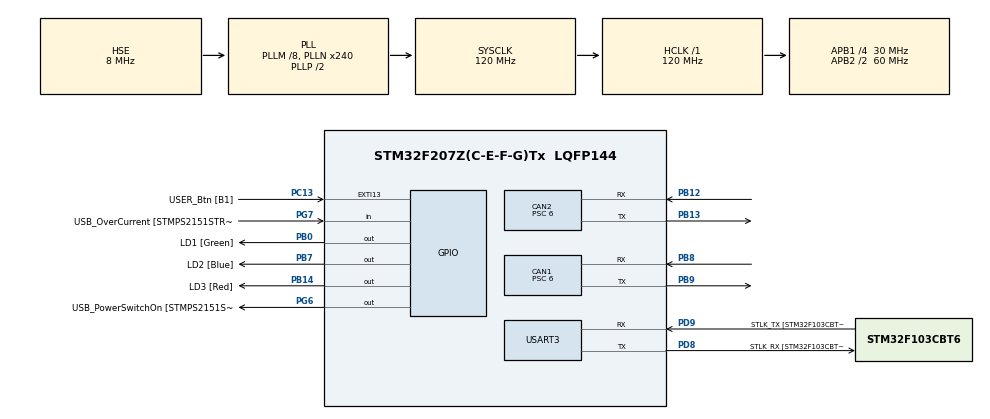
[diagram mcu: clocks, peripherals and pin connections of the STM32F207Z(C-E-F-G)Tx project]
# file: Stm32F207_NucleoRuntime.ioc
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CAN1.BS1=CAN_BS1_5TQ
CAN1.BS2=CAN_BS2_4TQ
CAN1.CalculateBaudRate=500000
CAN1.CalculateTimeBit=2000
CAN1.CalculateTimeQuantum=200.0
CAN1.NART=ENABLE
CAN1.Prescaler=6
CAN1.TXFP=ENABLE
CAN2.BS1=CAN_BS1_4TQ
CAN2.BS2=CAN_BS2_5TQ
CAN2.CalculateBaudRate=500000
CAN2.CalculateTimeBit=2000
CAN2.CalculateTimeQuantum=200.0
CAN2.NART=ENABLE
CAN2.Prescaler=6
CAN2.TXFP=ENABLE
FREERTOS.HEAP_NUMBER=1
FREERTOS.INCLUDE_vTaskDelete=1
FREERTOS.Queues01=appCan1RxQueue,128,CAN_Msg_t,0,Dynamic,NULL,NULL;appCan2RxQueue,128,CAN_Msg_t,0,Dynamic,NULL,NULL;appCan1TxQueue,128,CAN_Msg_t,0,Dynamic,NULL,NULL;appCan2TxQueue,128,CAN_Msg_t,0,Dynamic,NULL,NULL;xcpCanRxQueue,128,CAN_Msg_t,0,Dynamic,NULL,NULL
FREERTOS.Tasks01=can2_TxTask,40,512,StartCan2_TxTask,Default,NULL,Dynamic,NULL,NULL;can1_TxTask,40,512,StartCan1_TxTask,Default,NULL,Dynamic,NULL,NULL;appTask,24,1024,StartAppTask,Default,NULL,Dynamic,NULL,NULL;canXcpTask,24,1024,StartCanXcpTask,Default,NULL,Dynamic,NULL,NULL
FREERTOS.configTOTAL_HEAP_SIZE=65536
FREERTOS.configUSE_NEWLIB_REENTRANT=1
Mcu.Family=STM32F2
Mcu.Name=STM32F207Z(C-E-F-G)Tx
Mcu.Package=LQFP144
NVIC.CAN1_RX0_IRQn=true\:5\:0\:false\:false\:true\:true\:true\:true\:true
NVIC.CAN1_RX1_IRQn=true\:5\:0\:false\:false\:true\:true\:true\:true\:true
NVIC.CAN1_SCE_IRQn=true\:5\:0\:false\:false\:true\:true\:true\:true\:true
NVIC.CAN1_TX_IRQn=true\:5\:0\:false\:false\:true\:true\:true\:true\:true
NVIC.CAN2_RX0_IRQn=true\:5\:0\:false\:false\:true\:true\:true\:true\:true
NVIC.CAN2_RX1_IRQn=true\:5\:0\:false\:false\:true\:true\:true\:true\:true
NVIC.CAN2_SCE_IRQn=true\:5\:0\:false\:false\:true\:true\:true\:true\:true
NVIC.CAN2_TX_IRQn=true\:5\:0\:false\:false\:true\:true\:true\:true\:true
NVIC.PriorityGroup=NVIC_PRIORITYGROUP_4
NVIC.TIM6_DAC_IRQn=true\:15\:0\:false\:false\:true\:false\:false\:true\:true
NVIC.TimeBase=TIM6_DAC_IRQn
NVIC.TimeBaseIP=TIM6
NVIC.USART3_IRQn=true\:5\:0\:false\:false\:true\:true\:true\:true\:true
PA13.GPIO_Label=TMS
PA13.Mode=Serial_Wire
PA13.Signal=SYS_JTMS-SWDIO
PA14.GPIO_Label=TCK
PA14.Mode=Serial_Wire
PA14.Signal=SYS_JTCK-SWCLK
PB0.GPIO_Label=LD1 [Green]
PB0.Signal=GPIO_Output
PB12.Mode=CAN_Activate
PB12.Signal=CAN2_RX
PB13.Mode=CAN_Activate
PB13.Signal=CAN2_TX
PB14.GPIO_Label=LD3 [Red]
PB14.Signal=GPIO_Output
PB7.GPIO_Label=LD2 [Blue]
PB7.Signal=GPIO_Output
PB8.Mode=CAN_Activate
PB8.Signal=CAN1_RX
PB9.Mode=CAN_Activate
PB9.Signal=CAN1_TX
PC13.GPIO_Label=USER_Btn [B1]
PC13.Signal=GPXTI13
PC14-OSC32_IN.Mode=LSE-External-Oscillator
PC14-OSC32_IN.Signal=RCC_OSC32_IN
PC15-OSC32_OUT.Mode=LSE-External-Oscillator
PC15-OSC32_OUT.Signal=RCC_OSC32_OUT
PD8.GPIO_Label=STLK_RX [STM32F103CBT6_PA2]
PD8.Mode=Asynchronous
PD8.Signal=USART3_TX
PD9.GPIO_Label=STLK_TX [STM32F103CBT6_PA3]
PD9.Mode=Asynchronous
PD9.Signal=USART3_RX
PG6.GPIO_Label=USB_PowerSwitchOn [STMPS2151STR_EN]
PG6.Signal=GPIO_Output
PG7.GPIO_Label=USB_OverCurrent [STMPS2151STR_FAULT]
PG7.Signal=GPIO_Input
PH0-OSC_IN.GPIO_Label=MCO [STM32F103CBT6_PA8]
PH0-OSC_IN.Mode=HSE-External-Clock-Source
PH0-OSC_IN.Signal=RCC_OSC_IN
PH1-OSC_OUT.Mode=HSE-External-Clock-Source
PH1-OSC_OUT.Signal=RCC_OSC_OUT
ProjectManager.HeapSize=0x200
ProjectManager.StackSize=0x400
ProjectManager.TargetToolchain=CMake
RCC.48MHZClocksFreq_Value=48000000
RCC.AHBFreq_Value=120000000
RCC.APB1CLKDivider=RCC_HCLK_DIV4
RCC.APB1Freq_Value=30000000
RCC.APB1TimFreq_Value=60000000
RCC.APB2CLKDivider=RCC_HCLK_DIV2
RCC.APB2Freq_Value=60000000
RCC.APB2TimFreq_Value=120000000
RCC.CortexFreq_Value=120000000
RCC.HCLKFreq_Value=120000000
RCC.HSE_VALUE=8000000
RCC.HSI_VALUE=16000000
RCC.PLLM=8
RCC.PLLMUL=RCC_PLL_MUL9
RCC.PLLN=240
RCC.PLLQ=5
RCC.PLLSourceVirtual=RCC_PLLSOURCE_HSE
RCC.PRESCALERUSB=RCC_USBCLKSOURCE_PLL_DIV1_5
RCC.RCC_RTC_Clock_Source=RCC_RTCCLKSOURCE_LSE
RCC.RCC_RTC_Clock_SourceVirtual=RCC_RTCCLKSOURCE_LSE
RCC.SYSCLKFreq_VALUE=120000000
RCC.SYSCLKSource=RCC_SYSCLKSOURCE_PLLCLK
RCC.SYSCLKSourceVirtual=RCC_SYSCLKSOURCE_PLLCLK
RCC.USBFreq_Value=48000000
RCC.VCOOutputFreq_Value=240000000
USART3.VirtualMode=VM_ASYNC
VP_FREERTOS_VS_CMSIS_V2.Mode=CMSIS_V2
VP_SYS_VS_tim6.Mode=TIM6
board=NUCLEO-F207ZG

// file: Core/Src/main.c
/* USER CODE BEGIN Header */
/**
  ******************************************************************************
  * @file           : main.c
  * @brief          : Main program body
  ******************************************************************************
  * @attention
  *
  * Copyright (c) 2025 STMicroelectronics.
  * All rights reserved.
  *
  * This software is licensed under terms that can be found in the LICENSE file
  * in the root directory of this software component.
  * If no LICENSE file comes with this software, it is provided AS-IS.
  *
  ******************************************************************************
  */
/* USER CODE END Header */
#include "main.h"
#include "cmsis_os.h"
#include "can.h"
#include "usart.h"
#include "gpio.h"

void SystemClock_Config(void);
void MX_FREERTOS_Init(void);
/* USER CODE BEGIN PFP */

void CAN1_Filter_AcceptAll(void);
void CAN2_Filter_AcceptAll(void);
/* USER CODE END PFP */

int main(void)
{

  /* MCU Configuration--------------------------------------------------------*/

  /* Reset of all peripherals, Initializes the Flash interface and the Systick. */
  HAL_Init();

  /* Configure the system clock */
  SystemClock_Config();

  /* Initialize all configured peripherals */
  MX_GPIO_Init();
  MX_USART3_UART_Init();
  MX_CAN1_Init();
  MX_CAN2_Init();
  /* USER CODE BEGIN 2 */
  CAN1_Filter_AcceptAll();
  CAN2_Filter_AcceptAll();

  if (HAL_CAN_Start(&hcan1) != HAL_OK || HAL_CAN_Start(&hcan2) != HAL_OK) {
      Error_Handler();
  }

  HAL_CAN_ActivateNotification(&hcan1, CAN_IT_RX_FIFO0_MSG_PENDING | CAN_IT_RX_FIFO1_MSG_PENDING | CAN_IT_TX_MAILBOX_EMPTY | CAN_IT_ERROR);
  HAL_CAN_ActivateNotification(&hcan2, CAN_IT_RX_FIFO0_MSG_PENDING | CAN_IT_RX_FIFO1_MSG_PENDING | CAN_IT_TX_MAILBOX_EMPTY | CAN_IT_ERROR);

  simulink_app_initialize();
  /* USER CODE END 2 */

  /* Init scheduler */
  osKernelInitialize();

  /* Call init function for freertos objects (in cmsis_os2.c) */
  MX_FREERTOS_Init();

  /* Start scheduler */
  osKernelStart();

  /* We should never get here as control is now taken by the scheduler */

  /* Infinite loop */
  while (1)
  {

  }
}

void SystemClock_Config(void)
{
  RCC_OscInitTypeDef RCC_OscInitStruct = {0};
  RCC_ClkInitTypeDef RCC_ClkInitStruct = {0};

  /** Initializes the RCC Oscillators according to the specified parameters
  * in the RCC_OscInitTypeDef structure.
  */
  RCC_OscInitStruct.OscillatorType = RCC_OSCILLATORTYPE_HSE;
  RCC_OscInitStruct.HSEState = RCC_HSE_BYPASS;
  RCC_OscInitStruct.PLL.PLLState = RCC_PLL_ON;
  RCC_OscInitStruct.PLL.PLLSource = RCC_PLLSOURCE_HSE;
  RCC_OscInitStruct.PLL.PLLM = 8;
  RCC_OscInitStruct.PLL.PLLN = 240;
  RCC_OscInitStruct.PLL.PLLP = RCC_PLLP_DIV2;
  RCC_OscInitStruct.PLL.PLLQ = 5;
  if (HAL_RCC_OscConfig(&RCC_OscInitStruct) != HAL_OK)
  {
    Error_Handler();
  }

  /** Initializes the CPU, AHB and APB buses clocks
  */
  RCC_ClkInitStruct.ClockType = RCC_CLOCKTYPE_HCLK|RCC_CLOCKTYPE_SYSCLK
                              |RCC_CLOCKTYPE_PCLK1|RCC_CLOCKTYPE_PCLK2;
  RCC_ClkInitStruct.SYSCLKSource = RCC_SYSCLKSOURCE_PLLCLK;
  RCC_ClkInitStruct.AHBCLKDivider = RCC_SYSCLK_DIV1;
  RCC_ClkInitStruct.APB1CLKDivider = RCC_HCLK_DIV4;
  RCC_ClkInitStruct.APB2CLKDivider = RCC_HCLK_DIV2;

  if (HAL_RCC_ClockConfig(&RCC_ClkInitStruct, FLASH_LATENCY_3) != HAL_OK)
  {
    Error_Handler();
  }
}

/* USER CODE BEGIN 4 */
void CAN1_Filter_AcceptAll(void) {
    CAN_FilterTypeDef canFilterConfig;

    // Фильтр для CAN1 FIFO0 (расширенные идентификаторы - ExtID)
    canFilterConfig.FilterBank = 0;
    canFilterConfig.FilterMode = CAN_FILTERMODE_IDMASK;
    canFilterConfig.FilterScale = CAN_FILTERSCALE_32BIT;
    // Для ExtID: бит IDE (bit 2) должен быть 1
    canFilterConfig.FilterIdHigh = 0x0000;
    canFilterConfig.FilterIdLow = 0x0004; // IDE bit set (0x4)
    canFilterConfig.FilterMaskIdHigh = 0x0000;
    canFilterConfig.FilterMaskIdLow = 0x0004; // Проверяем только бит IDE
    canFilterConfig.FilterFIFOAssignment = CAN_RX_FIFO0;
    canFilterConfig.FilterActivation = ENABLE;
    canFilterConfig.SlaveStartFilterBank = 14;  // Важно для CAN2!
    HAL_CAN_ConfigFilter(&hcan1, &canFilterConfig);

    // Фильтр для CAN1 FIFO1 (стандартные идентификаторы - StdID)
    canFilterConfig.FilterBank = 1;
    // Для StdID: бит IDE (bit 2) должен быть 0
    canFilterConfig.FilterIdHigh = 0x0000;
    canFilterConfig.FilterIdLow = 0x0000; // IDE bit clear (0x0)
    canFilterConfig.FilterMaskIdHigh = 0x0000;
    canFilterConfig.FilterMaskIdLow = 0x0004; // Проверяем только бит IDE
    canFilterConfig.FilterFIFOAssignment = CAN_RX_FIFO1;
    HAL_CAN_ConfigFilter(&hcan1, &canFilterConfig);
}

void CAN2_Filter_AcceptAll(void) {
    CAN_FilterTypeDef canFilterConfig;

    // Фильтр для CAN2 FIFO0 (банк 14)
    canFilterConfig.FilterBank = 14;  // Первый банк CAN2!
    canFilterConfig.FilterMode = CAN_FILTERMODE_IDMASK;
    canFilterConfig.FilterScale = CAN_FILTERSCALE_32BIT;
    canFilterConfig.FilterIdHigh = 0x0000;
    canFilterConfig.FilterIdLow = 0x0000;
    canFilterConfig.FilterMaskIdHigh = 0x0000;
    canFilterConfig.FilterMaskIdLow = 0x0000;
    canFilterConfig.FilterFIFOAssignment = CAN_RX_FIFO0;
    canFilterConfig.FilterActivation = ENABLE;
    canFilterConfig.SlaveStartFilterBank = 14;  // Для CAN2 не играет роли, но должно быть >=14
    HAL_CAN_ConfigFilter(&hcan2, &canFilterConfig);

    // Фильтр для CAN2 FIFO1 (банк 15)
    canFilterConfig.FilterBank = 15;
    canFilterConfig.FilterFIFOAssignment = CAN_RX_FIFO1;
    HAL_CAN_ConfigFilter(&hcan2, &canFilterConfig);
}
/* USER CODE END 4 */

void HAL_TIM_PeriodElapsedCallback(TIM_HandleTypeDef *htim)
{
  if (htim->Instance == TIM6) {
    HAL_IncTick();
  }
}

void Error_Handler(void)
{
  __disable_irq();
  while (1)
  {
  }
}

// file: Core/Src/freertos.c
/* USER CODE BEGIN Header */
/**
  ******************************************************************************
  * File Name          : freertos.c
  * Description        : Code for freertos applications
  ******************************************************************************
  * @attention
  *
  * Copyright (c) 2025 STMicroelectronics.
  * All rights reserved.
  *
  * This software is licensed under terms that can be found in the LICENSE file
  * in the root directory of this software component.
  * If no LICENSE file comes with this software, it is provided AS-IS.
  *
  ******************************************************************************
  */
/* USER CODE END Header */

#include "FreeRTOS.h"
#include "task.h"
#include "main.h"
#include "cmsis_os.h"

/* USER CODE BEGIN Includes */
#include "canMsgs.h"
#include "XcpBasic.h"
#include "XcpPort.h"

#include <string.h>
#include "can.h"

#include "arm_math.h"

//#include "simulink_app.h"
/* USER CODE END Includes */

/* USER CODE BEGIN PTD */
typedef struct {
    uint32_t txCount;
    uint32_t rxCount;
    uint32_t errorCount;
} CanStats;

/* USER CODE END PTD */

/* USER CODE BEGIN PD */
#define MS_TO_TICKS(ms)  ((osKernelGetTickFreq() * (ms)) / 1000)

/* USER CODE END PD */

/* USER CODE BEGIN Variables */
CanStats can1Stats;
CanStats can2Stats;

/* USER CODE END Variables */
/* Definitions for can2_TxTask */
osThreadId_t can2_TxTaskHandle;
const osThreadAttr_t can2_TxTask_attributes = {
  .name = "can2_TxTask",
  .stack_size = 512 * 4,
  .priority = (osPriority_t) osPriorityHigh,
};
/* Definitions for can1_TxTask */
osThreadId_t can1_TxTaskHandle;
const osThreadAttr_t can1_TxTask_attributes = {
  .name = "can1_TxTask",
  .stack_size = 512 * 4,
  .priority = (osPriority_t) osPriorityHigh,
};
/* Definitions for appTask */
osThreadId_t appTaskHandle;
const osThreadAttr_t appTask_attributes = {
  .name = "appTask",
  .stack_size = 1024 * 4,
  .priority = (osPriority_t) osPriorityNormal,
};
/* Definitions for canXcpTask */
osThreadId_t canXcpTaskHandle;
const osThreadAttr_t canXcpTask_attributes = {
  .name = "canXcpTask",
  .stack_size = 1024 * 4,
  .priority = (osPriority_t) osPriorityNormal,
};
/* Definitions for appCan1RxQueue */
osMessageQueueId_t appCan1RxQueueHandle;
const osMessageQueueAttr_t appCan1RxQueue_attributes = {
  .name = "appCan1RxQueue"
};
/* Definitions for appCan2RxQueue */
osMessageQueueId_t appCan2RxQueueHandle;
const osMessageQueueAttr_t appCan2RxQueue_attributes = {
  .name = "appCan2RxQueue"
};
/* Definitions for appCan1TxQueue */
osMessageQueueId_t appCan1TxQueueHandle;
const osMessageQueueAttr_t appCan1TxQueue_attributes = {
  .name = "appCan1TxQueue"
};
/* Definitions for appCan2TxQueue */
osMessageQueueId_t appCan2TxQueueHandle;
const osMessageQueueAttr_t appCan2TxQueue_attributes = {
  .name = "appCan2TxQueue"
};
/* Definitions for xcpCanRxQueue */
osMessageQueueId_t xcpCanRxQueueHandle;
const osMessageQueueAttr_t xcpCanRxQueue_attributes = {
  .name = "xcpCanRxQueue"
};

/* USER CODE BEGIN FunctionPrototypes */
HAL_StatusTypeDef CAN_SendMessage(CAN_HandleTypeDef *hcan, const CAN_Msg_t *msg);
void ProcessCanToQueue(CAN_HandleTypeDef *hcan, uint8_t fifo, osMessageQueueId_t queue);

/* USER CODE END FunctionPrototypes */

void StartCan2_TxTask(void *argument);
void StartCan1_TxTask(void *argument);
void StartAppTask(void *argument);
void StartCanXcpTask(void *argument);

void MX_FREERTOS_Init(void); /* (MISRA C 2004 rule 8.1) */

void MX_FREERTOS_Init(void) {

  /* Create the queue(s) */
  /* creation of appCan1RxQueue */
  appCan1RxQueueHandle = osMessageQueueNew (128, sizeof(CAN_Msg_t), &appCan1RxQueue_attributes);

  /* creation of appCan2RxQueue */
  appCan2RxQueueHandle = osMessageQueueNew (128, sizeof(CAN_Msg_t), &appCan2RxQueue_attributes);

  /* creation of appCan1TxQueue */
  appCan1TxQueueHandle = osMessageQueueNew (128, sizeof(CAN_Msg_t), &appCan1TxQueue_attributes);

  /* creation of appCan2TxQueue */
  appCan2TxQueueHandle = osMessageQueueNew (128, sizeof(CAN_Msg_t), &appCan2TxQueue_attributes);

  /* creation of xcpCanRxQueue */
  xcpCanRxQueueHandle = osMessageQueueNew (128, sizeof(CAN_Msg_t), &xcpCanRxQueue_attributes);

  /* Create the thread(s) */
  /* creation of can2_TxTask */
  can2_TxTaskHandle = osThreadNew(StartCan2_TxTask, NULL, &can2_TxTask_attributes);

  /* creation of can1_TxTask */
  can1_TxTaskHandle = osThreadNew(StartCan1_TxTask, NULL, &can1_TxTask_attributes);

  /* creation of appTask */
  appTaskHandle = osThreadNew(StartAppTask, NULL, &appTask_attributes);

  /* creation of canXcpTask */
  canXcpTaskHandle = osThreadNew(StartCanXcpTask, NULL, &canXcpTask_attributes);

}

void StartCan2_TxTask(void *argument)
{
  /* USER CODE BEGIN StartCan2_TxTask */
  CAN_Msg_t txMsg;
  CAN_TxHeaderTypeDef TxHeader;
  uint32_t TxMailbox;

  /* Infinite loop */
  for(;;)
  {
        // Обработка очереди APP (CAN2)
    if(osMessageQueueGet(appCan2TxQueueHandle, &txMsg, NULL, 0) == osOK)
    {
      CAN_SendMessage(&hcan2, &txMsg);
    }
    osDelay(1);
  }
  /* USER CODE END StartCan2_TxTask */
}

void StartCan1_TxTask(void *argument)
{
  /* USER CODE BEGIN StartCan1_TxTask */
  CAN_Msg_t txMsg;
  CAN_TxHeaderTypeDef TxHeader;
  uint32_t TxMailbox;

  /* Infinite loop */
  for(;;)
  {
    // Обработка очереди APP (CAN1)
    if(osMessageQueueGet(appCan1TxQueueHandle, &txMsg, NULL, 0) == osOK)
    {
      CAN_SendMessage(&hcan1, &txMsg);
    }
    osDelay(1);
  }
  /* USER CODE END StartCan1_TxTask */
}

void StartAppTask(void *argument)
{
  /* USER CODE BEGIN StartAppTask */
  // Константы времени
  const uint32_t interval_10ms = MS_TO_TICKS(10);    // 10 мс интервал
  const uint32_t interval_100ms = MS_TO_TICKS(100);  // 100 мс интервал
  const uint32_t interval_1000ms = MS_TO_TICKS(1000);// 1000 мс интервал

  // Параметры синусоидального сигнала RPM
  const float32_t RPM_MAX = 8031.875f;    // Максимальное значение RPM
  const float32_t WAVE_PERIOD_MS = 5000.0f; // Период волны 5 секунд
  float32_t phase = 0.0f;                 // Текущая фаза
  const float32_t PHASE_STEP = (2.0f * PI * 10.0f) / WAVE_PERIOD_MS; // Приращение фазы за 10 мс

  // Тайминги
  uint32_t tick = osKernelGetTickCount();
  uint32_t last_100ms_tick = tick;
  uint32_t last_1000ms_tick = tick;

  /* Infinite loop */
  for(;;)
  {
    /* Шаг функции Simulink */
    simulink_app_step();

    /* Жёсткая периодичность 10 мс */
    tick += interval_10ms;
    osDelayUntil(tick);
  }
  /* USER CODE END StartAppTask */
}

void StartCanXcpTask(void *argument)
{
  /* USER CODE BEGIN StartCanXcpTask */
  CAN_Msg_t rxMsg;
  const uint32_t interval10ms = MS_TO_TICKS(10);
  const uint32_t interval100ms = MS_TO_TICKS(100);
  uint32_t tick10ms = osKernelGetTickCount();
  uint32_t tick100ms = tick10ms;
  uint32_t messageCount = 0;
  const uint32_t maxMessagesPerCycle = 50; // Максимальное количество сообщений за цикл

  XcpInit();

  /* Infinite loop */
  for(;;)
  {
    // Обработка сообщений с ограничением количества
    messageCount = 0;
    while((osMessageQueueGet(xcpCanRxQueueHandle, &rxMsg, NULL, 0) == osOK) &&
          (messageCount < maxMessagesPerCycle))
    {
      XcpMessageHandler(&rxMsg);
      messageCount++;
    }

    // 10ms события
    XcpEvent(XcpEventChannel_10msEvent_1);

    // 100ms события (каждый 10-й вызов)
    if((tick10ms - tick100ms) >= interval100ms)
    {
      XcpEvent(XcpEventChannel_100msEvent_1);
      tick100ms = tick10ms;
    }

    tick10ms += interval10ms;
    osDelayUntil(tick10ms);
  }
  /* USER CODE END StartCanXcpTask */
}

/* USER CODE BEGIN Application */
/**
  * @brief Отправка CAN-сообщения с ожиданием свободного почтового ящика
  * @param hcan Указатель на структуру CAN_HandleTypeDef
  * @param msg Структура с данными сообщения (ID, Extended, Length, Data)
  * @param timeout_ms Таймаут ожидания свободного ящика в миллисекундах
  * @return
  */
HAL_StatusTypeDef CAN_SendMessage(CAN_HandleTypeDef *hcan, const CAN_Msg_t *msg)
{
    CAN_TxHeaderTypeDef TxHeader;

    // Настройка заголовка CAN сообщения
    TxHeader.IDE = msg->Extended ? CAN_ID_EXT : CAN_ID_STD;
    TxHeader.StdId = msg->Extended ? 0 : msg->ID;
    TxHeader.ExtId = msg->Extended ? msg->ID : 0;
    TxHeader.DLC = msg->Length;
    TxHeader.RTR = CAN_RTR_DATA;
    TxHeader.TransmitGlobalTime = DISABLE;

    // Ожидание свободного почтового ящика
    while (HAL_CAN_GetTxMailboxesFreeLevel(hcan) == 0)
    {
        osDelay(1);
    }

    // Отправка сообщения
    return HAL_CAN_AddTxMessage(hcan, &TxHeader, msg->Data, NULL);
}

// Общая функция для обработки CAN сообщений и помещения в очередь
void ProcessCanToQueue(CAN_HandleTypeDef *hcan, uint8_t fifo, osMessageQueueId_t queue)
{
    CAN_RxHeaderTypeDef rxHeader;
    uint8_t rxData[8];
    CAN_Msg_t canMsg;

    if (HAL_CAN_GetRxMessage(hcan, fifo, &rxHeader, rxData) == HAL_OK)
    {
        // Заполняем структуру CAN_Msg_t
        canMsg.Extended = (rxHeader.IDE == CAN_ID_EXT);
        canMsg.ID = canMsg.Extended ? rxHeader.ExtId : rxHeader.StdId;
        canMsg.Length = rxHeader.DLC;
        memcpy(canMsg.Data, rxData, 8);
        canMsg.Timestamp = HAL_GetTick();

        // Отправляем в очередь (без ожидания)
        osMessageQueuePut(queue, &canMsg, 0, 0);
    }
}

// Обработчик для CAN1 FIFO0 -> appCan1RxQueueHandle
void HAL_CAN_RxFifo0MsgPendingCallback(CAN_HandleTypeDef *hcan)
{
    if (hcan == &hcan1)
    {
        ProcessCanToQueue(hcan, CAN_RX_FIFO0, appCan1RxQueueHandle);
        can1Stats.rxCount++;
    }
    else if (hcan == &hcan2)
    {
        ProcessCanToQueue(hcan, CAN_RX_FIFO0, appCan2RxQueueHandle);
        can2Stats.rxCount++;
    }
}

// Обработчик для CAN1 FIFO1 -> xcpCanRxQueueHandle
// Обработчик для CAN2 FIFO1 -> appCan2RxQueueHandle
void HAL_CAN_RxFifo1MsgPendingCallback(CAN_HandleTypeDef *hcan)
{
    if (hcan == &hcan1)
    {
        ProcessCanToQueue(hcan, CAN_RX_FIFO1, xcpCanRxQueueHandle);
        can1Stats.rxCount++;
    }
    else if (hcan == &hcan2)
    {
        ProcessCanToQueue(hcan, CAN_RX_FIFO1, appCan2RxQueueHandle);
        can2Stats.rxCount++;
    }
}

// Вызывается при успешной отправке сообщения из почтового ящика
void HAL_CAN_TxMailboxCompleteCallback(CAN_HandleTypeDef *hcan, uint32_t TxMailbox)
{
  if (hcan == &hcan1)
  {
    can1Stats.txCount++;
  }
  if (hcan == &hcan2)
  {
    can2Stats.txCount++;
  }

}

// Вызывается при ошибке отправки
void HAL_CAN_ErrorCallback(CAN_HandleTypeDef *hcan)
{
  if (hcan == &hcan1) can1Stats.errorCount++;
  if (hcan == &hcan2) can2Stats.errorCount++;
}

/* USER CODE END Application */
